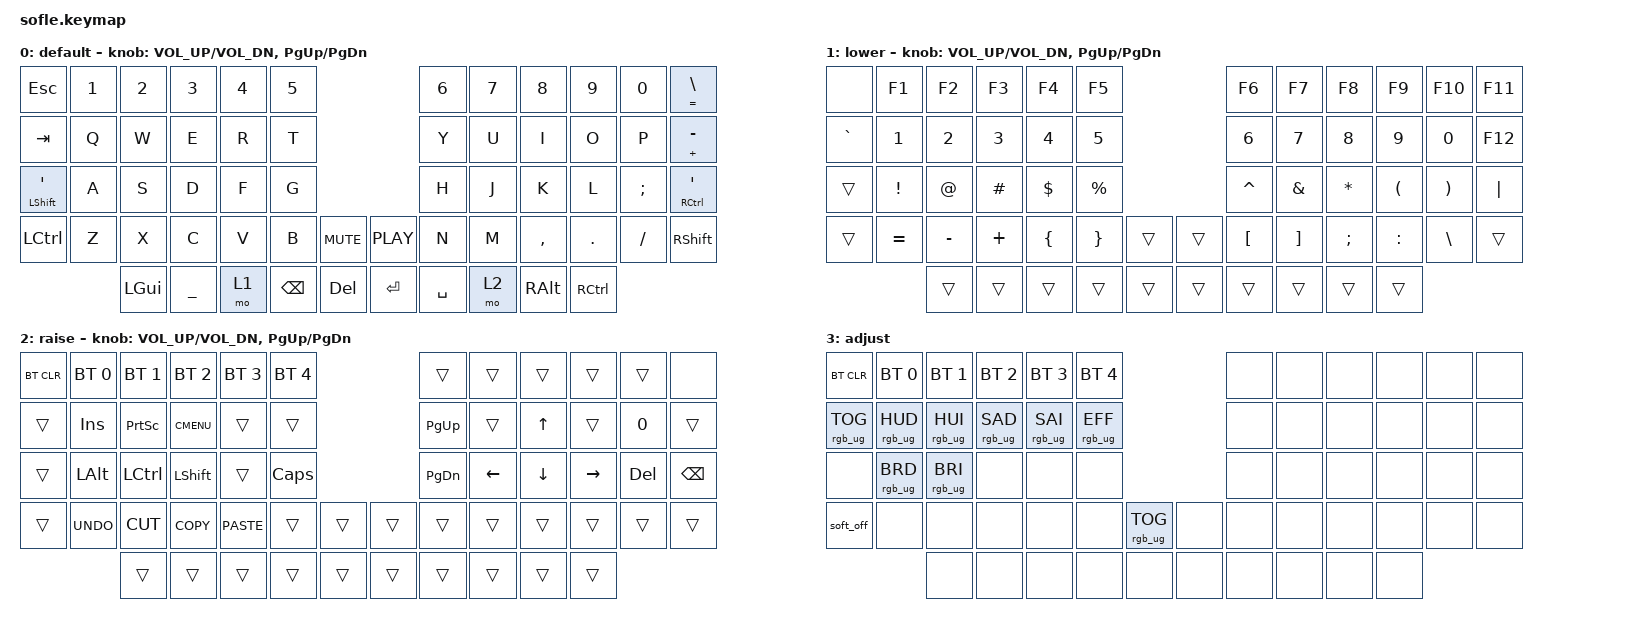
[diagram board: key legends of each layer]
/*
 * Copyright (c) 2020 The ZMK Contributors
 *
 * SPDX-License-Identifier: MIT
 */

#include <behaviors.dtsi>
#include <dt-bindings/zmk/bt.h>
#include <dt-bindings/zmk/keys.h>
#include <dt-bindings/zmk/rgb.h>

#define BASE 0
#define LOWER 1
#define RAISE 2
#define ADJUST 3

&nice_view_spi { cs-gpios = <&gpio1 1 GPIO_ACTIVE_HIGH>; };

&soft_off {
    hold-time-ms = <1>; // Only turn off it the key is held for 5 seconds or longer.
};

/ {
    // Activate ADJUST layer by pressing raise and lower

    conditional_layers {
        compatible = "zmk,conditional-layers";

        adjust_layer {
            if-layers = <LOWER RAISE>;
            then-layer = <ADJUST>;
        };
    };

    keymap {
        compatible = "zmk,keymap";

        default_layer {
            display-name = "default";

            // ------------------------------------------------------------------------------------------------------------
            // |   `   |  1  |  2  |  3   |  4   |  5   |                   |  6   |  7    |  8    |  9   |   0   |       |
            // |  ESC  |  Q  |  W  |  E   |  R   |  T   |                   |  Y   |  U    |  I    |  O   |   P   | BKSPC |
            // |  TAB  |  A  |  S  |  D   |  F   |  G   |                   |  H   |  J    |  K    |  L   |   ;   |   '   |
            // | SHIFT |  Z  |  X  |  C   |  V   |  B   |  MUTE  |  |       |  N   |  M    |  ,    |  .   |   /   | SHIFT |
            //               | GUI | ALT  | CTRL | LOWER|  ENTER |  | SPACE | RAISE| CTRL  | ALT   | GUI  |

            bindings = <
&kp ESCAPE           &kp N1  &kp N2        &kp N3          &kp N4  &kp N5                                   &kp N6     &kp N7  &kp N8         &kp N9             &kp N0    &mt EQUAL BACKSLASH
&kp TAB              &kp Q   &kp W         &kp E           &kp R   &kp T                                    &kp Y      &kp U   &kp I          &kp O              &kp P     &mt PLUS MINUS
&mt LEFT_SHIFT APOS  &kp A   &kp S         &kp D           &kp F   &kp G                                    &kp H      &kp J   &kp K          &kp L              &kp SEMI  &mt RIGHT_CONTROL SQT
&kp LEFT_CONTROL     &kp Z   &kp X         &kp C           &kp V   &kp B          &kp C_MUTE    &kp C_PLAY  &kp N      &kp M   &kp COMMA      &kp DOT            &kp FSLH  &kp RSHFT
                             &kp LEFT_GUI  &kp UNDERSCORE  &mo 1   &kp BACKSPACE  &kp DEL       &kp ENTER   &kp SPACE  &mo 2   &kp RIGHT_ALT  &kp RIGHT_CONTROL
            >;

            sensor-bindings = <&inc_dec_kp C_VOL_UP C_VOL_DN &inc_dec_kp PG_UP PG_DN>;
        };

        lower_layer {
            display-name = "lower";

            // TODO: Some binds are waiting for shifted keycode support.
            // ------------------------------------------------------------------------------------------------------------
            // |       |  F1 |  F2 |  F3  |  F4  |  F5  |                   |  F6  |  F7   |  F8   |  F9  |  F10  |  F11  |
            // |   `   |  1  |  2  |  3   |  4   |  5   |                   |  6   |  7    |  8    |  9   |   0   |  F12  |
            // |       |  !  |  @  |  #   |  $   |  %   |                   |  ^   |  &    |  *    |  (   |   )   |   |   |
            // |       |  =  |  -  |  +   |  {   |  }   |        |  |       |  [   |  ]    |  ;    |  :   |   \   |       |
            //               |     |      |      |      |        |  |       |      |       |       |      |

            bindings = <
&none      &kp F1     &kp F2     &kp F3    &kp F4    &kp F5                       &kp F6     &kp F7    &kp F8     &kp F9     &kp F10   &kp F11
&kp GRAVE  &kp N1     &kp N2     &kp N3    &kp N4    &kp N5                       &kp N6     &kp N7    &kp N8     &kp N9     &kp N0    &kp F12
&trans     &kp EXCL   &kp AT     &kp HASH  &kp DLLR  &kp PRCNT                    &kp CARET  &kp AMPS  &kp ASTRK  &kp LPAR   &kp RPAR  &kp PIPE
&trans     &kp EQUAL  &kp MINUS  &kp PLUS  &kp LBRC  &kp RBRC   &trans    &trans  &kp LBKT   &kp RBKT  &kp SEMI   &kp COLON  &kp BSLH  &trans
                      &trans     &trans    &trans    &trans     &trans    &trans  &trans     &trans    &trans     &trans
            >;

            sensor-bindings = <&inc_dec_kp C_VOL_UP C_VOL_DN &inc_dec_kp PG_UP PG_DN>;
        };

        raise_layer {
            display-name = "raise";

            // ------------------------------------------------------------------------------------------------------------
            // | BTCLR | BT1  | BT2  |  BT3  |  BT4  |  BT5 |                |      |      |       |      |       |       |
            // |       | INS  | PSCR | GUI   |       |      |                | PGUP |      |   ^   |      |       |       |
            // |       | ALT  | CTRL | SHIFT |       | CAPS |                | PGDN |   <- |   v   |  ->  |  DEL  | BKSPC |
            // |       | UNDO | CUT  | COPY  | PASTE |      |      |  |      |      |      |       |      |       |       |
            //                |      |       |       |      |      |  |      |      |      |       |      |

            bindings = <
&bt BT_CLR  &bt BT_SEL 0  &bt BT_SEL 1  &bt BT_SEL 2  &bt BT_SEL 3  &bt BT_SEL 4                    &trans     &trans    &trans    &trans     &trans   &none
&trans      &kp INS       &kp PSCRN     &kp K_CMENU   &trans        &trans                          &kp PG_UP  &trans    &kp UP    &trans     &kp N0   &trans
&trans      &kp LALT      &kp LCTRL     &kp LSHFT     &trans        &kp CLCK                        &kp PG_DN  &kp LEFT  &kp DOWN  &kp RIGHT  &kp DEL  &kp BSPC
&trans      &kp K_UNDO    &kp K_CUT     &kp K_COPY    &kp K_PASTE   &trans        &trans    &trans  &trans     &trans    &trans    &trans     &trans   &trans
                          &trans        &trans        &trans        &trans        &trans    &trans  &trans     &trans    &trans    &trans
            >;

            sensor-bindings = <&inc_dec_kp C_VOL_UP C_VOL_DN &inc_dec_kp PG_UP PG_DN>;
        };

        adjust_layer {
            // ----------------------------------------------------------------------------------------------------------------------------
            // | BTCLR  |  BT1    |  BT2    |   BT3   |   BT4   |   BT5   |                  |      |      |       |      |       |       |
            // | EXTPWR | RGB_HUD | RGB_HUI | RGB_SAD | RGB_SAI | RGB_EFF |                  |      |      |       |      |       |       |
            // |        | RGB_BRD | RGB_BRI |         |         |         |                  |      |      |       |      |       |       |
            // |        |         |         |         |         |         | RGB_TOG | |      |      |      |       |      |       |       |
            //                    |         |         |         |         |         | |      |      |      |       |      |

            display-name = "adjust";
            bindings = <
&bt BT_CLR       &bt BT_SEL 0     &bt BT_SEL 1     &bt BT_SEL 2     &bt BT_SEL 3     &bt BT_SEL 4                               &none  &none  &none  &none  &none  &none
&rgb_ug RGB_TOG  &rgb_ug RGB_HUD  &rgb_ug RGB_HUI  &rgb_ug RGB_SAD  &rgb_ug RGB_SAI  &rgb_ug RGB_EFF                            &none  &none  &none  &none  &none  &none
&none            &rgb_ug RGB_BRD  &rgb_ug RGB_BRI  &none            &none            &none                                      &none  &none  &none  &none  &none  &none
&soft_off        &none            &none            &none            &none            &none            &rgb_ug RGB_TOG    &none  &none  &none  &none  &none  &none  &none
                                  &none            &none            &none            &none            &none              &none  &none  &none  &none  &none
            >;
        };
    };
};
